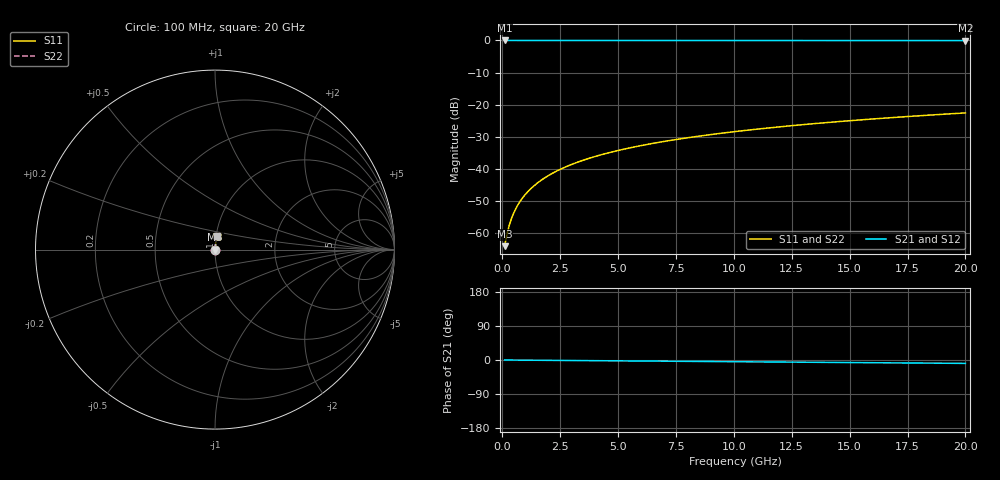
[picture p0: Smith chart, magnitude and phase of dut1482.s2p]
! Touchstone file exported from HFSS 2026.1.0
!  File:  C:/ffzhzh/LocalFiles/Ansys_Project_Files/temp_train_TSV_1482_1783198592_51560.aedt
!  Generated:  04:58:54 AM Jul  5, 2026
!  Design:  TSV
!  Project:  temp_train_TSV_1482_1783198592_51560
! Variables:
!  h_bsmrdl = 2um
!  h_ox = 20um
!  h_rdl = 5um
!  h_sub = 77.22um
!  h_tmrdl = 5um
!  h_tsv = 77.22um
!  h_via = 3um
!  l_bsmrdl = 300um
!  l_sub = 408.92um
!  l_tmrdl = 200um
!  m_sub = 200um
!  pitch = 39.58um
!  r_tsv = 4.46um
!  s_tmrdl = 10um
!  w_bsmrdl = 18um
!  w_sub = 500um
!  w_tmrdl = 12um
!  x_tsv_center1 = 206um
!  x_tsv_center2 = 524um
!  x_tsv_center3 = 736um
!  x_tsv_center4 = 1054um
!  x_tsv_center5 = 1266um
!  x_tsv_center6 = 1584um
# GHz S MA R 50.000000
! Terminal data exported
! Port[1] = TSV1_1_T1
! Port[2] = TSV1_1_T2
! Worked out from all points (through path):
!   200 points, 100 MHz to 20 GHz, reference 50 ohm
!   highest |S21| = 0.00 dB at 100 MHz (marker M1); lowest = 0.0 dB at 20 GHz (marker M2)
!   group delay of S21, straight-line fit = 1.24 ps
!   lowest |S11| = -64.0 dB at 100 MHz (marker M3), VSWR 1.00, Z = 50 + j0.0415 ohm
!   |S11| at or under -10 dB: start of sweep to end of sweep
!   |S22| runs from -64.0 to -22.5 dB; largest |S21 - S12| = 4.5e-15
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0.1  0.0006304 41.1  0.9995 -0.0  0.9995 -0.0  0.0006304 41.1
! Gamma 0 0 0 0
! Port Impedance 50 0 50 0
0.2  0.0009575 59.5  0.9995 -0.1  0.9995 -0.1  0.0009575 59.5
0.3  0.001329 67.8  0.9995 -0.1  0.9995 -0.1  0.001329 67.8
0.4  0.001712 72.4  0.9995 -0.2  0.9995 -0.2  0.001712 72.4
0.5  0.002098 75.2  0.9995 -0.2  0.9995 -0.2  0.002098 75.2
0.6  0.002486 77.2  0.9995 -0.3  0.9995 -0.3  0.002486 77.2
0.8  0.003263 79.7  0.9994 -0.4  0.9994 -0.4  0.003263 79.7
1.1  0.004432 81.8  0.9994 -0.5  0.9994 -0.5  0.004432 81.8
1.5  0.005993 83.2  0.9993 -0.7  0.9993 -0.7  0.005993 83.2
1.8  0.007163 83.8  0.9993 -0.8  0.9993 -0.8  0.007163 83.8
2.1  0.00833 84.2  0.9993 -1.0  0.9993 -1.0  0.00833 84.2
2.7  0.01065 84.5  0.9992 -1.2  0.9992 -1.2  0.01065 84.5
3.5  0.01373 84.6  0.999 -1.6  0.999 -1.6  0.01373 84.6
4.2  0.01639 84.6  0.9989 -1.9  0.9989 -1.9  0.01639 84.6
5  0.01942 84.4  0.9987 -2.3  0.9987 -2.3  0.01942 84.4
5.9  0.02279 84.2  0.9985 -2.7  0.9985 -2.7  0.02279 84.2
6.8  0.02615 84.0  0.9983 -3.1  0.9983 -3.1  0.02615 84.0
8.3  0.03173 83.6  0.998 -3.7  0.998 -3.7  0.03173 83.6
10.1  0.03839 83.0  0.9976 -4.5  0.9976 -4.5  0.03839 83.0
13.4  0.05054 81.9  0.9968 -6.0  0.9968 -6.0  0.05054 81.9
16.7  0.06261 80.6  0.996 -7.5  0.996 -7.5  0.06261 80.6
20  0.07458 79.3  0.9949 -8.9  0.9949 -8.9  0.07458 79.3
